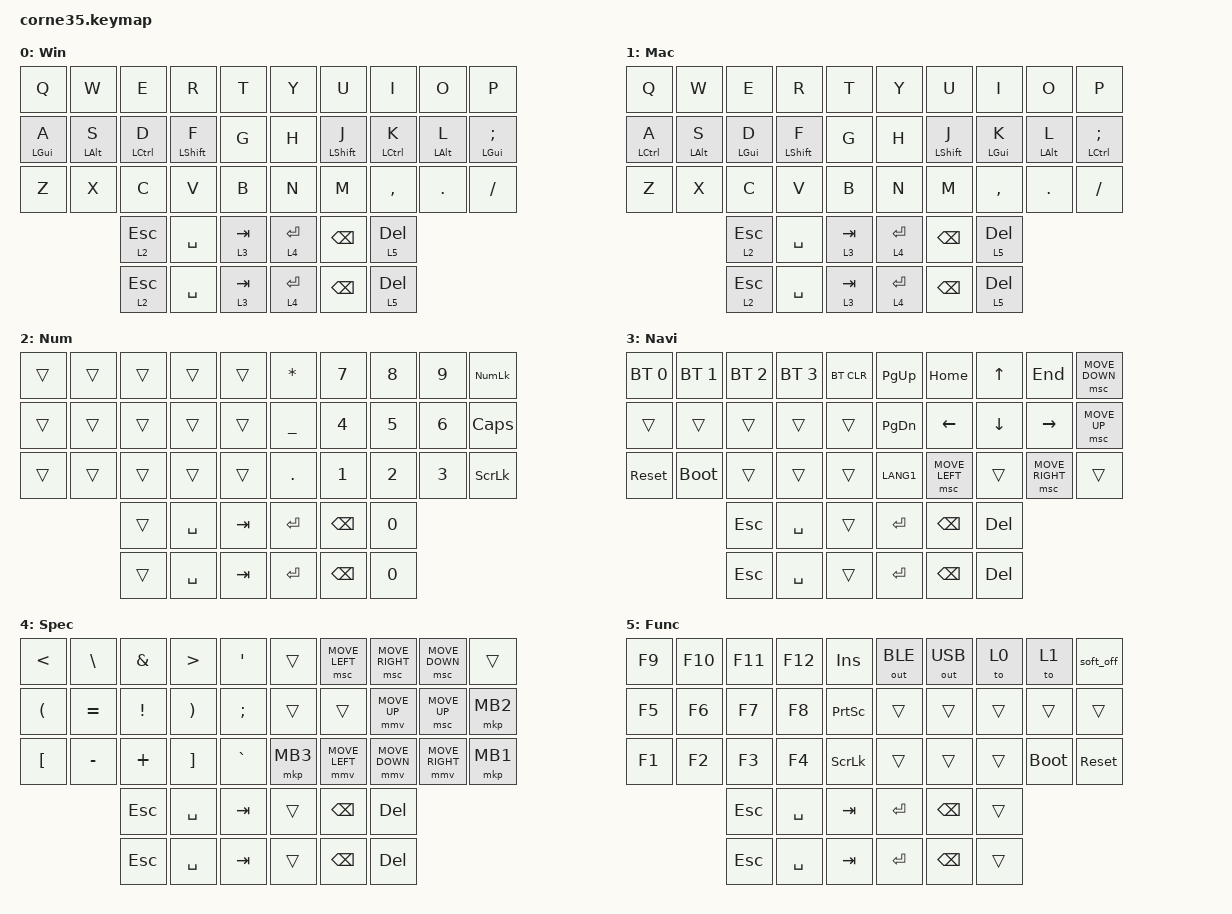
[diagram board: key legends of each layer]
#include <behaviors.dtsi>
#include <dt-bindings/zmk/keys.h>
#include <dt-bindings/zmk/bt.h>
#include <dt-bindings/zmk/outputs.h>

#include <dt-bindings/zmk/mouse.h>
#include <behaviors/mouse_keys.dtsi>

/ {
    macros {
        ZMK_MACRO(sql_select,  wait-ms = <30>; tap-ms = <40>; bindings = <&kp S &kp E &kp L &kp E &kp C &kp T &kp SPACE &kp STAR>;)
        ZMK_MACRO(sql_from,    wait-ms = <30>; tap-ms = <40>; bindings = <&kp F &kp R &kp O &kp M>;)
        ZMK_MACRO(sql_where,   wait-ms = <30>; tap-ms = <40>; bindings = <&kp W &kp H &kp E &kp R &kp E>;)
        ZMK_MACRO(sql_between, wait-ms = <30>; tap-ms = <40>; bindings = <&kp B &kp E &kp T &kp W &kp E &kp E &kp N>;)
        ZMK_MACRO(sql_and,     wait-ms = <30>; tap-ms = <40>; bindings = <&kp A &kp N &kp D>;)
        ZMK_MACRO(sql_order,   wait-ms = <30>; tap-ms = <40>; bindings = <&kp O &kp R &kp D &kp E &kp R &kp SPACE &kp B &kp Y>;)
    };

    combos {
        compatible = "zmk,combos";
        combo_b                 { timeout-ms = <50>; key-positions = <25 26>; bindings = <&kp B>; };
        combo_caps              { timeout-ms = <50>; key-positions = <0 1>; bindings = <&kp CAPS>; };
        combo_hangle            { timeout-ms = <50>; key-positions = <8 9>; bindings = <&kp LANG1>; };

        combo_select            { timeout-ms = <50>; key-positions = <26 27>; bindings = <&sql_select>; };
        combo_from              { timeout-ms = <50>; key-positions = <27 28>; bindings = <&sql_from>; };
        combo_where             { timeout-ms = <50>; key-positions = <28 29>; bindings = <&sql_where>; };
        combo_between           { timeout-ms = <50>; key-positions = <6 7>; bindings = <&sql_between>; };
        combo_and               { timeout-ms = <50>; key-positions = <5 6>; bindings = <&sql_and>; };
        combo_order             { timeout-ms = <50>; key-positions = <7 8>; bindings = <&sql_order>; };

        combo_win_undo          { timeout-ms = <50>; key-positions = <20 21>; bindings = <&kp LC(Z)>; layers = <0>; };
        combo_win_redo          { timeout-ms = <50>; key-positions = <20 21 22>; bindings = <&kp LC(LS(Z))>; layers = <0>; };
        combo_win_cut           { timeout-ms = <50>; key-positions = <21 22>; bindings = <&kp LC(X)>; layers = <0>; };
        combo_win_copy          { timeout-ms = <50>; key-positions = <22 23>; bindings = <&kp LC(C)>; layers = <0>; };
        combo_win_paste         { timeout-ms = <50>; key-positions = <23 24>; bindings = <&kp LC(V)>; layers = <0>; };
        combo_win_natural_paste { timeout-ms = <50>; key-positions = <23 24 25>; bindings = <&kp LC(LA(V))>; layers = <0>; };

        combo_mac_undo          { timeout-ms = <50>; key-positions = <20 21>; bindings = <&kp LG(Z)>; layers = <1>; };
        combo_mac_redo          { timeout-ms = <50>; key-positions = <20 21 22>; bindings = <&kp LG(LS(Z))>; layers = <1>; };
        combo_mac_cut           { timeout-ms = <50>; key-positions = <21 22>; bindings = <&kp LG(X)>; layers = <1>; };
        combo_mac_copy          { timeout-ms = <50>; key-positions = <22 23>; bindings = <&kp LG(C)>; layers = <1>; };
        combo_mac_paste         { timeout-ms = <50>; key-positions = <23 24>; bindings = <&kp LG(V)>; layers = <1>; };
        combo_mac_natural_paste { timeout-ms = <50>; key-positions = <23 24 25>; bindings = <&kp LG(LA(V))>; layers = <1>; };
    };

    behaviors {
        hm: balanced_homerow_mods {
            compatible = "zmk,behavior-hold-tap";
            #binding-cells = <2>;
            tapping-term-ms = <200>;
            quick-tap-ms = <0>;
            flavor = "balanced";
            bindings = <&kp>, <&kp>;
        };
    };

    keymap {
        compatible = "zmk,keymap";

        default_layer {
            display-name = "Win";
            bindings = <
            //╭──────────────┬──────────────┬──────────────┬──────────────┬────────────╮            ╭──────────────┬────────────────┬─────────────────┬─────────────────┬────────────────╮
                &kp Q          &kp W          &kp E          &kp R          &kp T                     &kp Y          &kp U            &kp I             &kp O             &kp P
            //├──────────────┼──────────────┼──────────────┼──────────────┼────────────┤            ├──────────────┼────────────────┼─────────────────┼─────────────────┼────────────────┤
                &hm LGUI A     &hm LALT S     &hm LCTRL D    &hm LSHFT F    &kp G                     &kp H          &hm LSHFT J      &hm LCTRL K       &hm LALT L        &hm LGUI SEMI
            //├──────────────┼──────────────┼──────────────┼──────────────┼────────────┤            ├──────────────┼────────────────┼─────────────────┼─────────────────┼────────────────┤
                &kp Z          &kp X          &kp C          &kp V          &kp B                     &kp N          &kp M            &kp COMMA         &kp DOT           &kp SLASH
            //╰──────────────┴──────────────┼──────────────┼──────────────┼────────────┤            ├──────────────┼────────────────┼─────────────────┼─────────────────┴────────────────╯
                                              &lt 2 ESC      &kp SPACE      &lt 3 TAB                 &lt 4 ENTER    &kp BSPC         &lt 5 DEL
                                              &lt 2 ESC      &kp SPACE      &lt 3 TAB                 &lt 4 ENTER    &kp BSPC         &lt 5 DEL
            //                              ╰──────────────┴──────────────┴────────────╯            ╰──────────────┴────────────────┴─────────────────╯
            >;
        };

        mac_layer {
            display-name = "Mac";
            bindings = <
            //╭──────────────┬──────────────┬──────────────┬──────────────┬────────────╮            ╭──────────────┬────────────────┬─────────────────┬─────────────────┬────────────────╮
                &kp Q          &kp W          &kp E          &kp R          &kp T                     &kp Y          &kp U            &kp I             &kp O             &kp P
            //├──────────────┼──────────────┼──────────────┼──────────────┼────────────┤            ├──────────────┼────────────────┼─────────────────┼─────────────────┼────────────────┤
                &hm LCTRL A    &hm LALT S     &hm LGUI D     &hm LSHFT F    &kp G                     &kp H          &hm LSHFT J      &hm LGUI K        &hm LALT L        &hm LCTRL SEMI
            //├──────────────┼──────────────┼──────────────┼──────────────┼────────────┤            ├──────────────┼────────────────┼─────────────────┼─────────────────┼────────────────┤
                &kp Z          &kp X          &kp C          &kp V          &kp B                     &kp N          &kp M            &kp COMMA         &kp DOT           &kp SLASH
            //╰──────────────┴──────────────┼──────────────┼──────────────┼────────────┤            ├──────────────┼────────────────┼─────────────────┼─────────────────┴────────────────╯
                                              &lt 2 ESC      &kp SPACE      &lt 3 TAB                 &lt 4 ENTER    &kp BSPC         &lt 5 DEL
                                              &lt 2 ESC      &kp SPACE      &lt 3 TAB                 &lt 4 ENTER    &kp BSPC         &lt 5 DEL
            //                              ╰──────────────┴──────────────┴────────────╯            ╰──────────────┴────────────────┴─────────────────╯
            >;
        };

        num_layer {
            display-name = "Num";
            bindings = <
            //╭──────────────┬──────────────┬──────────────┬──────────────┬────────────╮            ╭──────────────┬────────────────┬─────────────────┬─────────────────┬────────────────╮
                &trans         &trans         &trans         &trans         &trans                    &kp STAR       &kp N7           &kp N8            &kp N9            &kp KP_NUM
            //├──────────────┼──────────────┼──────────────┼──────────────┼────────────┤            ├──────────────┼────────────────┼─────────────────┼─────────────────┼────────────────┤
                &trans         &trans         &trans         &trans         &trans                    &kp UNDER      &kp N4           &kp N5            &kp N6            &kp CAPS
            //├──────────────┼──────────────┼──────────────┼──────────────┼────────────┤            ├──────────────┼────────────────┼─────────────────┼─────────────────┼────────────────┤
                &trans         &trans         &trans         &trans         &trans                    &kp DOT        &kp N1           &kp N2            &kp N3            &kp SLCK
            //╰──────────────┴──────────────┼──────────────┼──────────────┼────────────┤            ├──────────────┼────────────────┼─────────────────┼─────────────────┴────────────────╯
                                              &trans         &kp SPACE      &kp TAB                   &kp ENTER      &kp BSPC         &kp N0
                                              &trans         &kp SPACE      &kp TAB                   &kp ENTER      &kp BSPC         &kp N0
            //                              ╰──────────────┴──────────────┴────────────╯            ╰──────────────┴────────────────┴─────────────────╯
            >;
        };

        nav_layer {
            display-name = "Navi";
            bindings = <
            //╭──────────────┬──────────────┬──────────────┬──────────────┬────────────╮            ╭──────────────┬────────────────┬─────────────────┬─────────────────┬────────────────╮
                &bt BT_SEL 0   &bt BT_SEL 1   &bt BT_SEL 2   &bt BT_SEL 3   &bt BT_CLR                &kp PG_UP      &kp HOME         &kp UP            &kp END           &msc MOVE_DOWN
            //├──────────────┼──────────────┼──────────────┼──────────────┼────────────┤            ├──────────────┼────────────────┼─────────────────┼─────────────────┼────────────────┤
                &trans         &trans         &trans         &trans         &trans                    &kp PG_DN      &kp LEFT         &kp DOWN          &kp RIGHT         &msc MOVE_UP
            //├──────────────┼──────────────┼──────────────┼──────────────┼────────────┤            ├──────────────┼────────────────┼─────────────────┼─────────────────┼────────────────┤
                &sys_reset     &bootloader    &trans         &trans         &trans                    &kp LANG1      &msc MOVE_LEFT   &trans            &msc MOVE_RIGHT   &trans
            //╰──────────────┴──────────────┼──────────────┼──────────────┼────────────┤            ├──────────────┼────────────────┼─────────────────┼─────────────────┴────────────────╯
                                              &kp ESC        &kp SPACE      &trans                    &kp ENTER      &kp BSPC         &kp DEL
                                              &kp ESC        &kp SPACE      &trans                    &kp ENTER      &kp BSPC         &kp DEL
            //                              ╰──────────────┴──────────────┴────────────╯            ╰──────────────┴────────────────┴─────────────────╯
            >;
        };

        spec_layer {
            display-name = "Spec";
            bindings = <
            //╭──────────────┬──────────────┬──────────────┬──────────────┬────────────╮            ╭──────────────┬────────────────┬─────────────────┬─────────────────┬────────────────╮
                &kp LT         &kp BSLH       &kp AMPS       &kp GT         &kp SQT                   &trans         &msc MOVE_LEFT   &msc MOVE_RIGHT   &msc MOVE_DOWN    &trans
            //├──────────────┼──────────────┼──────────────┼──────────────┼────────────┤            ├──────────────┼────────────────┼─────────────────┼─────────────────┼────────────────┤
                &kp LPAR       &kp EQUAL      &kp EXCL       &kp RPAR       &kp SEMI                  &trans         &trans           &mmv MOVE_UP      &msc MOVE_UP      &mkp MB2
            //├──────────────┼──────────────┼──────────────┼──────────────┼────────────┤            ├──────────────┼────────────────┼─────────────────┼─────────────────┼────────────────┤
                &kp LBKT       &kp MINUS      &kp PLUS       &kp RBKT       &kp GRAVE                 &mkp MB3       &mmv MOVE_LEFT   &mmv MOVE_DOWN    &mmv MOVE_RIGHT   &mkp MB1
            //╰──────────────┴──────────────┼──────────────┼──────────────┼────────────┤            ├──────────────┼────────────────┼─────────────────┼─────────────────┴────────────────╯
                                              &kp ESC        &kp SPACE      &kp TAB                   &trans         &kp BSPC         &kp DEL
                                              &kp ESC        &kp SPACE      &kp TAB                   &trans         &kp BSPC         &kp DEL
            //                              ╰──────────────┴──────────────┴────────────╯            ╰──────────────┴────────────────┴─────────────────╯
            >;
        };

        func_layer {
            display-name = "Func";
            bindings = <
            //╭──────────────┬──────────────┬──────────────┬──────────────┬────────────╮            ╭──────────────┬────────────────┬─────────────────┬─────────────────┬────────────────╮
                &kp F9         &kp F10        &kp F11        &kp F12        &kp INS                   &out OUT_BLE   &out OUT_USB     &to 0             &to 1             &soft_off
            //├──────────────┼──────────────┼──────────────┼──────────────┼────────────┤            ├──────────────┼────────────────┼─────────────────┼─────────────────┼────────────────┤
                &kp F5         &kp F6         &kp F7         &kp F8         &kp PSCRN                 &trans         &trans           &trans            &trans            &trans
            //├──────────────┼──────────────┼──────────────┼──────────────┼────────────┤            ├──────────────┼────────────────┼─────────────────┼─────────────────┼────────────────┤
                &kp F1         &kp F2         &kp F3         &kp F4         &kp SLCK                  &trans         &trans           &trans            &bootloader       &sys_reset
            //╰──────────────┴──────────────┼──────────────┼──────────────┼────────────┤            ├──────────────┼────────────────┼─────────────────┼─────────────────┴────────────────╯
                                              &kp ESC        &kp SPACE      &kp TAB                   &kp ENTER      &kp BSPC         &trans
                                              &kp ESC        &kp SPACE      &kp TAB                   &kp ENTER      &kp BSPC         &trans
            //                              ╰──────────────┴──────────────┴────────────╯            ╰──────────────┴────────────────┴─────────────────╯
            >;
        };

    };
};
